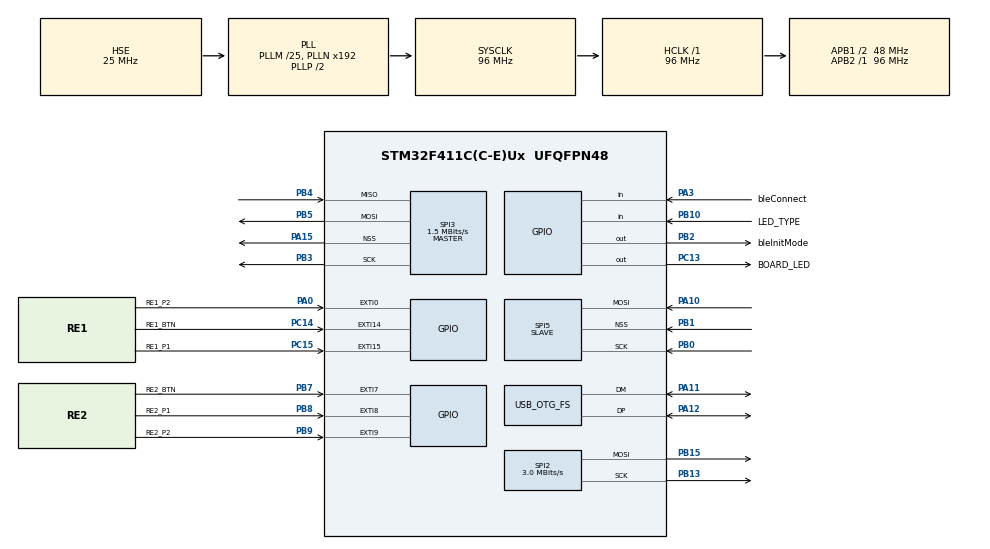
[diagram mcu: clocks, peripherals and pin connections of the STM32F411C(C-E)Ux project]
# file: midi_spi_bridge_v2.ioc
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Dma.Request0=SPI2_TX
Dma.Request1=SPI5_RX
Dma.Request2=SPI3_TX
Dma.SPI2_TX.0.Direction=DMA_MEMORY_TO_PERIPH
Dma.SPI2_TX.0.FIFOMode=DMA_FIFOMODE_DISABLE
Dma.SPI2_TX.0.Instance=DMA1_Stream4
Dma.SPI2_TX.0.MemDataAlignment=DMA_MDATAALIGN_BYTE
Dma.SPI2_TX.0.MemInc=DMA_MINC_ENABLE
Dma.SPI2_TX.0.Mode=DMA_NORMAL
Dma.SPI2_TX.0.PeriphDataAlignment=DMA_PDATAALIGN_BYTE
Dma.SPI2_TX.0.PeriphInc=DMA_PINC_DISABLE
Dma.SPI2_TX.0.Priority=DMA_PRIORITY_LOW
Dma.SPI3_TX.2.Direction=DMA_MEMORY_TO_PERIPH
Dma.SPI3_TX.2.FIFOMode=DMA_FIFOMODE_DISABLE
Dma.SPI3_TX.2.Instance=DMA1_Stream5
Dma.SPI3_TX.2.MemDataAlignment=DMA_MDATAALIGN_BYTE
Dma.SPI3_TX.2.MemInc=DMA_MINC_ENABLE
Dma.SPI3_TX.2.Mode=DMA_NORMAL
Dma.SPI3_TX.2.PeriphDataAlignment=DMA_PDATAALIGN_BYTE
Dma.SPI3_TX.2.PeriphInc=DMA_PINC_DISABLE
Dma.SPI3_TX.2.Priority=DMA_PRIORITY_LOW
Dma.SPI5_RX.1.Direction=DMA_PERIPH_TO_MEMORY
Dma.SPI5_RX.1.FIFOMode=DMA_FIFOMODE_DISABLE
Dma.SPI5_RX.1.Instance=DMA2_Stream3
Dma.SPI5_RX.1.MemDataAlignment=DMA_MDATAALIGN_BYTE
Dma.SPI5_RX.1.MemInc=DMA_MINC_ENABLE
Dma.SPI5_RX.1.Mode=DMA_NORMAL
Dma.SPI5_RX.1.PeriphDataAlignment=DMA_PDATAALIGN_BYTE
Dma.SPI5_RX.1.PeriphInc=DMA_PINC_DISABLE
Dma.SPI5_RX.1.Priority=DMA_PRIORITY_LOW
Mcu.Family=STM32F4
Mcu.Name=STM32F411C(C-E)Ux
Mcu.Package=UFQFPN48
NVIC.DMA1_Stream4_IRQn=true\:0\:0\:false\:false\:true\:false\:true\:true
NVIC.DMA1_Stream5_IRQn=true\:0\:0\:false\:false\:true\:false\:true\:true
NVIC.DMA2_Stream3_IRQn=true\:0\:0\:false\:false\:true\:false\:true\:true
NVIC.EXTI0_IRQn=true\:0\:0\:false\:false\:true\:true\:true\:true
NVIC.EXTI15_10_IRQn=true\:0\:0\:false\:false\:true\:true\:true\:true
NVIC.EXTI9_5_IRQn=true\:0\:0\:false\:false\:true\:true\:true\:true
NVIC.OTG_FS_IRQn=true\:0\:0\:false\:false\:true\:false\:true\:true
NVIC.PriorityGroup=NVIC_PRIORITYGROUP_4
NVIC.TIM1_TRG_COM_TIM11_IRQn=true\:0\:0\:false\:false\:true\:true\:true\:true
PA0-WKUP.GPIO_Label=RE1_P2
PA0-WKUP.GPIO_ModeDefaultEXTI=GPIO_MODE_IT_FALLING
PA0-WKUP.GPIO_PuPd=GPIO_PULLUP
PA0-WKUP.Signal=GPXTI0
PA10.Mode=RX_Only_Simplex_Unidirect_Slave
PA10.Signal=SPI5_MOSI
PA11.Mode=Host_Only
PA11.Signal=USB_OTG_FS_DM
PA12.Mode=Host_Only
PA12.Signal=USB_OTG_FS_DP
PA15.Mode=NSS_Signal_Hard_Output
PA15.Signal=SPI3_NSS
PA3.GPIO_Label=bleConnect
PA3.GPIO_PuPd=GPIO_PULLDOWN
PA3.Signal=GPIO_Input
PB0.Mode=RX_Only_Simplex_Unidirect_Slave
PB0.Signal=SPI5_SCK
PB1.Mode=NSS_Signal_Hard_Input
PB1.Signal=SPI5_NSS
PB10.GPIO_Label=LED_TYPE
PB10.GPIO_PuPd=GPIO_PULLDOWN
PB10.Signal=GPIO_Input
PB13.Mode=TX_Only_Simplex_Unidirect_Master
PB13.Signal=SPI2_SCK
PB15.Mode=TX_Only_Simplex_Unidirect_Master
PB15.Signal=SPI2_MOSI
PB2.GPIO_Label=bleInitMode
PB2.GPIO_PuPd=GPIO_PULLDOWN
PB2.PinState=GPIO_PIN_RESET
PB2.Signal=GPIO_Output
PB3.Mode=Full_Duplex_Master
PB3.Signal=SPI3_SCK
PB4.Mode=Full_Duplex_Master
PB4.Signal=SPI3_MISO
PB5.Mode=Full_Duplex_Master
PB5.Signal=SPI3_MOSI
PB7.GPIO_Label=RE2_BTN
PB7.GPIO_ModeDefaultEXTI=GPIO_MODE_IT_RISING_FALLING
PB7.GPIO_PuPd=GPIO_PULLUP
PB7.Signal=GPXTI7
PB8.GPIO_Label=RE2_P1
PB8.GPIO_ModeDefaultEXTI=GPIO_MODE_IT_FALLING
PB8.GPIO_PuPd=GPIO_PULLUP
PB8.Signal=GPXTI8
PB9.GPIO_Label=RE2_P2
PB9.GPIO_ModeDefaultEXTI=GPIO_MODE_IT_FALLING
PB9.GPIO_PuPd=GPIO_PULLUP
PB9.Signal=GPXTI9
PC13-ANTI_TAMP.GPIO_Label=BOARD_LED
PC13-ANTI_TAMP.Signal=GPIO_Output
PC14-OSC32_IN.GPIO_Label=RE1_BTN
PC14-OSC32_IN.GPIO_ModeDefaultEXTI=GPIO_MODE_IT_RISING_FALLING
PC14-OSC32_IN.GPIO_PuPd=GPIO_PULLUP
PC14-OSC32_IN.Signal=GPXTI14
PC15-OSC32_OUT.GPIO_Label=RE1_P1
PC15-OSC32_OUT.GPIO_ModeDefaultEXTI=GPIO_MODE_IT_FALLING
PC15-OSC32_OUT.GPIO_PuPd=GPIO_PULLUP
PC15-OSC32_OUT.Signal=GPXTI15
PH0\ -\ OSC_IN.Mode=HSE-External-Oscillator
PH0\ -\ OSC_IN.Signal=RCC_OSC_IN
PH1\ -\ OSC_OUT.Mode=HSE-External-Oscillator
PH1\ -\ OSC_OUT.Signal=RCC_OSC_OUT
ProjectManager.HeapSize=0x200
ProjectManager.StackSize=0x400
ProjectManager.TargetToolchain=STM32CubeIDE
RCC.48MHZClocksFreq_Value=48000000
RCC.AHBFreq_Value=96000000
RCC.APB1CLKDivider=RCC_HCLK_DIV2
RCC.APB1Freq_Value=48000000
RCC.APB1TimFreq_Value=96000000
RCC.APB2Freq_Value=96000000
RCC.APB2TimFreq_Value=96000000
RCC.CortexFreq_Value=96000000
RCC.HCLKFreq_Value=96000000
RCC.HSE_VALUE=25000000
RCC.HSI_VALUE=16000000
RCC.LSE_VALUE=32768
RCC.PLLM=25
RCC.SYSCLKFreq_VALUE=96000000
RCC.SYSCLKSource=RCC_SYSCLKSOURCE_PLLCLK
RCC.VCOOutputFreq_Value=192000000
SPI2.BaudRatePrescaler=SPI_BAUDRATEPRESCALER_16
SPI2.CalculateBaudRate=3.0 MBits/s
SPI2.Direction=SPI_DIRECTION_2LINES
SPI2.Mode=SPI_MODE_MASTER
SPI2.VirtualType=VM_MASTER
SPI3.BaudRatePrescaler=SPI_BAUDRATEPRESCALER_32
SPI3.CalculateBaudRate=1.5 MBits/s
SPI3.Direction=SPI_DIRECTION_2LINES
SPI3.Mode=SPI_MODE_MASTER
SPI3.VirtualNSS=VM_NSSHARD
SPI3.VirtualType=VM_MASTER
SPI5.Direction=SPI_DIRECTION_2LINES_RXONLY
SPI5.Mode=SPI_MODE_SLAVE
SPI5.VirtualNSS=VM_NSSHARD
SPI5.VirtualType=VM_SLAVE
TIM11.AutoReloadPreload=TIM_AUTORELOAD_PRELOAD_ENABLE
TIM11.ClockDivision=TIM_CLOCKDIVISION_DIV4
TIM11.Period=100
TIM11.Prescaler=20000
USB_HOST.USBH_HandleTypeDef=hUsbHostFS
USB_HOST.USBH_MAX_SIZE_CONFIGURATION=512
USB_HOST.VirtualModeFS=Audio
USB_OTG_FS.VirtualMode=Host_Only
USB_OTG_FS.phy_itface=HCD_PHY_EMBEDDED
VP_TIM11_VS_ClockSourceINT.Mode=Enable_Timer
VP_USB_HOST_VS_USB_HOST_AUDIO_FS.Mode=AUDIO_FS
board=custom

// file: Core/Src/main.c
/* USER CODE BEGIN Header */
/**
 ******************************************************************************
 * @file           : main.c
 * @brief          : Main program body
 ******************************************************************************
 * @attention
 *
 * Copyright (c) 2024 STMicroelectronics.
 * All rights reserved.
 *
 * This software is licensed under terms that can be found in the LICENSE file
 * in the root directory of this software component.
 * If no LICENSE file comes with this software, it is provided AS-IS.
 *
 ******************************************************************************
 */
/* USER CODE END Header */
#include "main.h"
#include "usb_host.h"

/* USER CODE BEGIN Includes */
#include "stdio.h"
#include "io_system_control.h"

/* New architecture includes */
#include "app_runtime.h"
#include "app_event.h"
#include "io_input_adapter.h"
#include "io_display_renderer.h"
#include "io_display_driver.h"
#include "io_input_driver.h"
#include "io_midi_transport.h"
#include "domain_display_model.h"

/* USER CODE END Includes */

SPI_HandleTypeDef hspi2;
SPI_HandleTypeDef hspi3;
SPI_HandleTypeDef hspi5;
DMA_HandleTypeDef hdma_spi2_tx;
DMA_HandleTypeDef hdma_spi3_tx;
DMA_HandleTypeDef hdma_spi5_rx;

TIM_HandleTypeDef htim11;

/* USER CODE BEGIN PV */
uint8_t spi_controler_rx[4];
/* USER CODE END PV */

void SystemClock_Config(void);
static void MX_GPIO_Init(void);
static void MX_DMA_Init(void);
static void MX_SPI2_Init(void);
static void MX_TIM11_Init(void);
static void MX_SPI5_Init(void);
static void MX_SPI3_Init(void);
void MX_USB_HOST_Process(void);

/* USER CODE BEGIN 0 */
void HAL_SPI_RxCpltCallback(SPI_HandleTypeDef *hspi)
{
  if (hspi == &hspi5)
  {
    io_midi_transport_push_rx_packet(spi_controler_rx);
    HAL_SPI_Receive_DMA(&hspi5, spi_controler_rx, 4);
  }
}

void HAL_TIM_PeriodElapsedCallback(TIM_HandleTypeDef *htim)
{
  if (htim == &htim11)
  {
    io_input_driver_timer_callback();
    io_input_driver_handle(HAL_GetTick());
  }

  return;
}

void HAL_GPIO_EXTI_Callback(uint16_t GPIO_Pin)
{
  io_input_driver_exti_callback(GPIO_Pin);
  return;
}

/* USER CODE END 0 */

int main(void)
{

  /* MCU Configuration--------------------------------------------------------*/

  /* Reset of all peripherals, Initializes the Flash interface and the Systick. */
  HAL_Init();

  /* Configure the system clock */
  SystemClock_Config();

  /* Initialize all configured peripherals */
  MX_GPIO_Init();
  MX_DMA_Init();
  MX_SPI2_Init();
  MX_USB_HOST_Init();
  MX_TIM11_Init();
  MX_SPI5_Init();
  MX_SPI3_Init();
  /* USER CODE BEGIN 2 */

  // Initialize I/O drivers
  uint8_t led_type = (HAL_GPIO_ReadPin(LED_TYPE_GPIO_Port, LED_TYPE_Pin) == GPIO_PIN_RESET) ? 1 : 0;
  io_display_driver_init(&hspi2, led_type);
  io_input_driver_init(led_type);
  io_midi_transport_init();
  io_midi_transport_bind_tx_spi(&hspi3);

  // Initialize architecture
  app_runtime_init();
  app_runtime_input_init();
  io_input_adapter_init();
  io_display_renderer_init(&hspi2);
  domain_display_model_init();

  /* USER CODE END 2 */

  /* Infinite loop */
  /* USER CODE BEGIN WHILE */

  // Start timer interrupt for input driver
  HAL_TIM_Base_Start_IT(&htim11);

  // Initial MIDI BLE initiater/client switch
  if (HAL_GPIO_ReadPin(RE1_BTN_GPIO_Port, RE1_BTN_Pin) == GPIO_PIN_RESET)
  {
    io_system_control_ble_init_mode_pulse();
  }

  // Start MIDI Repeater
  HAL_SPI_Receive_DMA(&hspi5, spi_controler_rx, 4);

  // Start new application runtime
  app_runtime_start();

  while (1)
  {
    MIDI_Application();
    // USER CODE END WHILE
    MX_USB_HOST_Process();

    /* USER CODE BEGIN 3 */
    uint32_t tick = HAL_GetTick();

    // Input events in runtime
    app_event_t input_event;
    while (io_input_adapter_poll(&input_event))
    {
      app_runtime_post_event(&input_event);
    }

    // Step application runtime
    app_runtime_step(tick);

    // Service MIDI transport
    io_midi_transport_service();

    // Render display
    domain_display_model_t display_model;
    domain_display_model_get_current(&display_model);
    io_display_renderer_render(&display_model);
    io_display_renderer_flush();
  }
  /* USER CODE END 3 */
}

void SystemClock_Config(void)
{
  RCC_OscInitTypeDef RCC_OscInitStruct = {0};
  RCC_ClkInitTypeDef RCC_ClkInitStruct = {0};

  /** Configure the main internal regulator output voltage
   */
  __HAL_RCC_PWR_CLK_ENABLE();
  __HAL_PWR_VOLTAGESCALING_CONFIG(PWR_REGULATOR_VOLTAGE_SCALE1);

  /** Initializes the RCC Oscillators according to the specified parameters
   * in the RCC_OscInitTypeDef structure.
   */
  RCC_OscInitStruct.OscillatorType = RCC_OSCILLATORTYPE_HSE;
  RCC_OscInitStruct.HSEState = RCC_HSE_ON;
  RCC_OscInitStruct.PLL.PLLState = RCC_PLL_ON;
  RCC_OscInitStruct.PLL.PLLSource = RCC_PLLSOURCE_HSE;
  RCC_OscInitStruct.PLL.PLLM = 25;
  RCC_OscInitStruct.PLL.PLLN = 192;
  RCC_OscInitStruct.PLL.PLLP = RCC_PLLP_DIV2;
  RCC_OscInitStruct.PLL.PLLQ = 4;
  if (HAL_RCC_OscConfig(&RCC_OscInitStruct) != HAL_OK)
  {
    Error_Handler();
  }

  /** Initializes the CPU, AHB and APB buses clocks
   */
  RCC_ClkInitStruct.ClockType = RCC_CLOCKTYPE_HCLK | RCC_CLOCKTYPE_SYSCLK | RCC_CLOCKTYPE_PCLK1 | RCC_CLOCKTYPE_PCLK2;
  RCC_ClkInitStruct.SYSCLKSource = RCC_SYSCLKSOURCE_PLLCLK;
  RCC_ClkInitStruct.AHBCLKDivider = RCC_SYSCLK_DIV1;
  RCC_ClkInitStruct.APB1CLKDivider = RCC_HCLK_DIV2;
  RCC_ClkInitStruct.APB2CLKDivider = RCC_HCLK_DIV1;

  if (HAL_RCC_ClockConfig(&RCC_ClkInitStruct, FLASH_LATENCY_3) != HAL_OK)
  {
    Error_Handler();
  }
}

static void MX_SPI2_Init(void)
{

  /* SPI2 parameter configuration*/
  hspi2.Instance = SPI2;
  hspi2.Init.Mode = SPI_MODE_MASTER;
  hspi2.Init.Direction = SPI_DIRECTION_2LINES;
  hspi2.Init.DataSize = SPI_DATASIZE_8BIT;
  hspi2.Init.CLKPolarity = SPI_POLARITY_LOW;
  hspi2.Init.CLKPhase = SPI_PHASE_1EDGE;
  hspi2.Init.NSS = SPI_NSS_SOFT;
  hspi2.Init.BaudRatePrescaler = SPI_BAUDRATEPRESCALER_16;
  hspi2.Init.FirstBit = SPI_FIRSTBIT_MSB;
  hspi2.Init.TIMode = SPI_TIMODE_DISABLE;
  hspi2.Init.CRCCalculation = SPI_CRCCALCULATION_DISABLE;
  hspi2.Init.CRCPolynomial = 10;
  if (HAL_SPI_Init(&hspi2) != HAL_OK)
  {
    Error_Handler();
  }
}

static void MX_SPI3_Init(void)
{

  /* SPI3 parameter configuration*/
  hspi3.Instance = SPI3;
  hspi3.Init.Mode = SPI_MODE_MASTER;
  hspi3.Init.Direction = SPI_DIRECTION_2LINES;
  hspi3.Init.DataSize = SPI_DATASIZE_8BIT;
  hspi3.Init.CLKPolarity = SPI_POLARITY_LOW;
  hspi3.Init.CLKPhase = SPI_PHASE_1EDGE;
  hspi3.Init.NSS = SPI_NSS_HARD_OUTPUT;
  hspi3.Init.BaudRatePrescaler = SPI_BAUDRATEPRESCALER_32;
  hspi3.Init.FirstBit = SPI_FIRSTBIT_MSB;
  hspi3.Init.TIMode = SPI_TIMODE_DISABLE;
  hspi3.Init.CRCCalculation = SPI_CRCCALCULATION_DISABLE;
  hspi3.Init.CRCPolynomial = 10;
  if (HAL_SPI_Init(&hspi3) != HAL_OK)
  {
    Error_Handler();
  }
}

static void MX_SPI5_Init(void)
{

  /* SPI5 parameter configuration*/
  hspi5.Instance = SPI5;
  hspi5.Init.Mode = SPI_MODE_SLAVE;
  hspi5.Init.Direction = SPI_DIRECTION_2LINES_RXONLY;
  hspi5.Init.DataSize = SPI_DATASIZE_8BIT;
  hspi5.Init.CLKPolarity = SPI_POLARITY_LOW;
  hspi5.Init.CLKPhase = SPI_PHASE_1EDGE;
  hspi5.Init.NSS = SPI_NSS_HARD_INPUT;
  hspi5.Init.FirstBit = SPI_FIRSTBIT_MSB;
  hspi5.Init.TIMode = SPI_TIMODE_DISABLE;
  hspi5.Init.CRCCalculation = SPI_CRCCALCULATION_DISABLE;
  hspi5.Init.CRCPolynomial = 10;
  if (HAL_SPI_Init(&hspi5) != HAL_OK)
  {
    Error_Handler();
  }
}

static void MX_TIM11_Init(void)
{

  htim11.Instance = TIM11;
  htim11.Init.Prescaler = 20000;
  htim11.Init.CounterMode = TIM_COUNTERMODE_UP;
  htim11.Init.Period = 100;
  htim11.Init.ClockDivision = TIM_CLOCKDIVISION_DIV4;
  htim11.Init.AutoReloadPreload = TIM_AUTORELOAD_PRELOAD_ENABLE;
  if (HAL_TIM_Base_Init(&htim11) != HAL_OK)
  {
    Error_Handler();
  }
}

static void MX_DMA_Init(void)
{

  /* DMA controller clock enable */
  __HAL_RCC_DMA1_CLK_ENABLE();
  __HAL_RCC_DMA2_CLK_ENABLE();

  /* DMA interrupt init */
  /* DMA1_Stream4_IRQn interrupt configuration */
  HAL_NVIC_SetPriority(DMA1_Stream4_IRQn, 0, 0);
  HAL_NVIC_EnableIRQ(DMA1_Stream4_IRQn);
  /* DMA1_Stream5_IRQn interrupt configuration */
  HAL_NVIC_SetPriority(DMA1_Stream5_IRQn, 0, 0);
  HAL_NVIC_EnableIRQ(DMA1_Stream5_IRQn);
  /* DMA2_Stream3_IRQn interrupt configuration */
  HAL_NVIC_SetPriority(DMA2_Stream3_IRQn, 0, 0);
  HAL_NVIC_EnableIRQ(DMA2_Stream3_IRQn);
}

static void MX_GPIO_Init(void)
{
  GPIO_InitTypeDef GPIO_InitStruct = {0};

  /* GPIO Ports Clock Enable */
  __HAL_RCC_GPIOC_CLK_ENABLE();
  __HAL_RCC_GPIOH_CLK_ENABLE();
  __HAL_RCC_GPIOA_CLK_ENABLE();
  __HAL_RCC_GPIOB_CLK_ENABLE();

  /*Configure GPIO pin Output Level */
  HAL_GPIO_WritePin(BOARD_LED_GPIO_Port, BOARD_LED_Pin, GPIO_PIN_RESET);

  /*Configure GPIO pin Output Level */
  HAL_GPIO_WritePin(bleInitMode_GPIO_Port, bleInitMode_Pin, GPIO_PIN_RESET);

  /*Configure GPIO pin : BOARD_LED_Pin */
  GPIO_InitStruct.Pin = BOARD_LED_Pin;
  GPIO_InitStruct.Mode = GPIO_MODE_OUTPUT_PP;
  GPIO_InitStruct.Pull = GPIO_NOPULL;
  GPIO_InitStruct.Speed = GPIO_SPEED_FREQ_LOW;
  HAL_GPIO_Init(BOARD_LED_GPIO_Port, &GPIO_InitStruct);

  /*Configure GPIO pin : RE1_BTN_Pin */
  GPIO_InitStruct.Pin = RE1_BTN_Pin;
  GPIO_InitStruct.Mode = GPIO_MODE_IT_RISING_FALLING;
  GPIO_InitStruct.Pull = GPIO_PULLUP;
  HAL_GPIO_Init(RE1_BTN_GPIO_Port, &GPIO_InitStruct);

  /*Configure GPIO pin : RE1_P1_Pin */
  GPIO_InitStruct.Pin = RE1_P1_Pin;
  GPIO_InitStruct.Mode = GPIO_MODE_IT_FALLING;
  GPIO_InitStruct.Pull = GPIO_PULLUP;
  HAL_GPIO_Init(RE1_P1_GPIO_Port, &GPIO_InitStruct);

  /*Configure GPIO pin : RE1_P2_Pin */
  GPIO_InitStruct.Pin = RE1_P2_Pin;
  GPIO_InitStruct.Mode = GPIO_MODE_IT_FALLING;
  GPIO_InitStruct.Pull = GPIO_PULLUP;
  HAL_GPIO_Init(RE1_P2_GPIO_Port, &GPIO_InitStruct);

  /*Configure GPIO pin : bleConnect_Pin */
  GPIO_InitStruct.Pin = bleConnect_Pin;
  GPIO_InitStruct.Mode = GPIO_MODE_INPUT;
  GPIO_InitStruct.Pull = GPIO_PULLDOWN;
  HAL_GPIO_Init(bleConnect_GPIO_Port, &GPIO_InitStruct);

  /*Configure GPIO pin : bleInitMode_Pin */
  GPIO_InitStruct.Pin = bleInitMode_Pin;
  GPIO_InitStruct.Mode = GPIO_MODE_OUTPUT_PP;
  GPIO_InitStruct.Pull = GPIO_PULLDOWN;
  GPIO_InitStruct.Speed = GPIO_SPEED_FREQ_LOW;
  HAL_GPIO_Init(bleInitMode_GPIO_Port, &GPIO_InitStruct);

  /*Configure GPIO pin : LED_TYPE_Pin */
  GPIO_InitStruct.Pin = LED_TYPE_Pin;
  GPIO_InitStruct.Mode = GPIO_MODE_INPUT;
  GPIO_InitStruct.Pull = GPIO_PULLDOWN;
  HAL_GPIO_Init(LED_TYPE_GPIO_Port, &GPIO_InitStruct);

  /*Configure GPIO pin : RE2_BTN_Pin */
  GPIO_InitStruct.Pin = RE2_BTN_Pin;
  GPIO_InitStruct.Mode = GPIO_MODE_IT_RISING_FALLING;
  GPIO_InitStruct.Pull = GPIO_PULLUP;
  HAL_GPIO_Init(RE2_BTN_GPIO_Port, &GPIO_InitStruct);

  /*Configure GPIO pins : RE2_P1_Pin RE2_P2_Pin */
  GPIO_InitStruct.Pin = RE2_P1_Pin | RE2_P2_Pin;
  GPIO_InitStruct.Mode = GPIO_MODE_IT_FALLING;
  GPIO_InitStruct.Pull = GPIO_PULLUP;
  HAL_GPIO_Init(GPIOB, &GPIO_InitStruct);

  /* EXTI interrupt init*/
  HAL_NVIC_SetPriority(EXTI0_IRQn, 0, 0);
  HAL_NVIC_EnableIRQ(EXTI0_IRQn);

  HAL_NVIC_SetPriority(EXTI9_5_IRQn, 0, 0);
  HAL_NVIC_EnableIRQ(EXTI9_5_IRQn);

  HAL_NVIC_SetPriority(EXTI15_10_IRQn, 0, 0);
  HAL_NVIC_EnableIRQ(EXTI15_10_IRQn);

}

void Error_Handler(void)
{
  __disable_irq();
  while (1)
  {
  }
}
